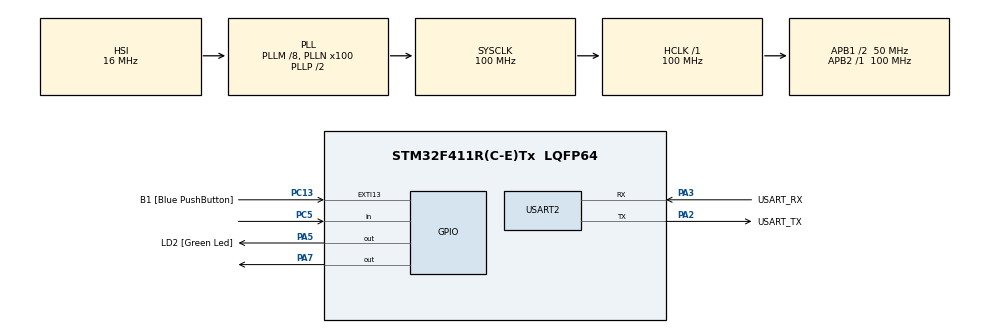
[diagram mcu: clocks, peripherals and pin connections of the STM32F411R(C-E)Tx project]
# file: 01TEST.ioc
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Mcu.Family=STM32F4
Mcu.Name=STM32F411R(C-E)Tx
Mcu.Package=LQFP64
NVIC.PriorityGroup=NVIC_PRIORITYGROUP_0
PA13.GPIO_Label=TMS
PA13.Mode=Serial_Wire
PA13.Signal=SYS_JTMS-SWDIO
PA14.GPIO_Label=TCK
PA14.Mode=Serial_Wire
PA14.Signal=SYS_JTCK-SWCLK
PA2.GPIO_Label=USART_TX
PA2.Mode=Asynchronous
PA2.Signal=USART2_TX
PA3.GPIO_Label=USART_RX
PA3.Mode=Asynchronous
PA3.Signal=USART2_RX
PA5.GPIO_Label=LD2 [Green Led]
PA5.Signal=GPIO_Output
PA7.Signal=GPIO_Output
PB3.GPIO_Label=SWO
PB3.Signal=SYS_JTDO-SWO
PC13-ANTI_TAMP.GPIO_Label=B1 [Blue PushButton]
PC13-ANTI_TAMP.GPIO_ModeDefaultEXTI=GPIO_MODE_IT_FALLING
PC13-ANTI_TAMP.Signal=GPXTI13
PC14-OSC32_IN.Mode=LSE-External-Oscillator
PC14-OSC32_IN.Signal=RCC_OSC32_IN
PC15-OSC32_OUT.Mode=LSE-External-Oscillator
PC15-OSC32_OUT.Signal=RCC_OSC32_OUT
PC5.Signal=GPIO_Input
PH0\ -\ OSC_IN.Mode=HSE-External-Clock-Source
PH0\ -\ OSC_IN.Signal=RCC_OSC_IN
PH1\ -\ OSC_OUT.Mode=HSE-External-Clock-Source
PH1\ -\ OSC_OUT.Signal=RCC_OSC_OUT
ProjectManager.HeapSize=0x200
ProjectManager.StackSize=0x400
ProjectManager.TargetToolchain=STM32CubeIDE
RCC.48MHZClocksFreq_Value=50000000
RCC.AHBFreq_Value=100000000
RCC.APB1CLKDivider=RCC_HCLK_DIV2
RCC.APB1Freq_Value=50000000
RCC.APB1TimFreq_Value=100000000
RCC.APB2Freq_Value=100000000
RCC.APB2TimFreq_Value=100000000
RCC.CortexFreq_Value=100000000
RCC.FLatency-AdvancedSettings=FLASH_LATENCY_3
RCC.HCLKFreq_Value=100000000
RCC.HSE_VALUE=8000000
RCC.HSI_VALUE=16000000
RCC.PLLM=8
RCC.PLLN=100
RCC.SYSCLKFreq_VALUE=100000000
RCC.SYSCLKSource=RCC_SYSCLKSOURCE_PLLCLK
RCC.VCOOutputFreq_Value=200000000
USART2.VirtualMode=VM_ASYNC
board=NUCLEO-F411RE

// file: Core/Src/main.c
/* USER CODE BEGIN Header */
/**
  ******************************************************************************
  * @file           : main.c
  * @brief          : Main program body
  ******************************************************************************
  * @attention
  *
  * Copyright (c) 2022 STMicroelectronics.
  * All rights reserved.
  *
  * This software is licensed under terms that can be found in the LICENSE file
  * in the root directory of this software component.
  * If no LICENSE file comes with this software, it is provided AS-IS.
  *
  ******************************************************************************
  */
/* USER CODE END Header */
#include "main.h"

UART_HandleTypeDef huart2;

void SystemClock_Config(void);
static void MX_GPIO_Init(void);
static void MX_USART2_UART_Init(void);

int main(void)
{

  /* MCU Configuration--------------------------------------------------------*/

  /* Reset of all peripherals, Initializes the Flash interface and the Systick. */
  HAL_Init();

  /* Configure the system clock */
  SystemClock_Config();

  /* Initialize all configured peripherals */
  MX_GPIO_Init();
  MX_USART2_UART_Init();
  /* USER CODE BEGIN 2 */

  GPIO_PinState state[2] ;// State switch
  uint16_t LED_half_prieod = 500 ; // 1Hz
  uint32_t Timestapm = 0 ;

  /* USER CODE END 2 */

  /* Infinite loop */
  /* USER CODE BEGIN WHILE */
  while (1)
  {
	/* Test Blink LED */
	// Program is running
//	HAL_GPIO_WritePin(GPIOA , GPIO_PIN_5 , GPIO_PIN_SET) ;
//	HAL_Delay(1000);
//	HAL_GPIO_WritePin(GPIOA , GPIO_PIN_5 , GPIO_PIN_RESET) ;
//	HAL_Delay(1000);
	  /* Check half period */
//	HAL_GPIO_WritePin(GPIOA, GPIO_PIN_5, 1);
//	HAL_Delay(LED_half_prieod);
//	HAL_GPIO_WritePin(GPIOA, GPIO_PIN_5, 0);
//	HAL_Delay(LED_half_prieod);

	// Read button pin state
	state[0] = HAL_GPIO_ReadPin(GPIOC, GPIO_PIN_13); // array[0] = read state now

	if (state[1] == 1  && state[0] == 0  ){
		if (LED_half_prieod == 500){
			LED_half_prieod = 250 ;
		}else{
			LED_half_prieod = 500 ;
		}
	}
	state[1] = state[0] ;

	if (HAL_GetTick() - Timestapm >= LED_half_prieod){
		// Now
		Timestapm = HAL_GetTick() ;
		if (HAL_GPIO_ReadPin(GPIOA, GPIO_PIN_7) == 1 )
		{
			HAL_GPIO_WritePin(GPIOA, GPIO_PIN_7, 0);
		}else{
			HAL_GPIO_WritePin(GPIOA, GPIO_PIN_7, 1);
		}
	}
    /* USER CODE END WHILE */

  }
}

void SystemClock_Config(void)
{
  RCC_OscInitTypeDef RCC_OscInitStruct = {0};
  RCC_ClkInitTypeDef RCC_ClkInitStruct = {0};

  /** Configure the main internal regulator output voltage
  */
  __HAL_RCC_PWR_CLK_ENABLE();
  __HAL_PWR_VOLTAGESCALING_CONFIG(PWR_REGULATOR_VOLTAGE_SCALE1);
  /** Initializes the RCC Oscillators according to the specified parameters
  * in the RCC_OscInitTypeDef structure.
  */
  RCC_OscInitStruct.OscillatorType = RCC_OSCILLATORTYPE_HSI;
  RCC_OscInitStruct.HSIState = RCC_HSI_ON;
  RCC_OscInitStruct.HSICalibrationValue = RCC_HSICALIBRATION_DEFAULT;
  RCC_OscInitStruct.PLL.PLLState = RCC_PLL_ON;
  RCC_OscInitStruct.PLL.PLLSource = RCC_PLLSOURCE_HSI;
  RCC_OscInitStruct.PLL.PLLM = 8;
  RCC_OscInitStruct.PLL.PLLN = 100;
  RCC_OscInitStruct.PLL.PLLP = RCC_PLLP_DIV2;
  RCC_OscInitStruct.PLL.PLLQ = 4;
  if (HAL_RCC_OscConfig(&RCC_OscInitStruct) != HAL_OK)
  {
    Error_Handler();
  }
  /** Initializes the CPU, AHB and APB buses clocks
  */
  RCC_ClkInitStruct.ClockType = RCC_CLOCKTYPE_HCLK|RCC_CLOCKTYPE_SYSCLK
                              |RCC_CLOCKTYPE_PCLK1|RCC_CLOCKTYPE_PCLK2;
  RCC_ClkInitStruct.SYSCLKSource = RCC_SYSCLKSOURCE_PLLCLK;
  RCC_ClkInitStruct.AHBCLKDivider = RCC_SYSCLK_DIV1;
  RCC_ClkInitStruct.APB1CLKDivider = RCC_HCLK_DIV2;
  RCC_ClkInitStruct.APB2CLKDivider = RCC_HCLK_DIV1;

  if (HAL_RCC_ClockConfig(&RCC_ClkInitStruct, FLASH_LATENCY_3) != HAL_OK)
  {
    Error_Handler();
  }
}

static void MX_USART2_UART_Init(void)
{

  huart2.Instance = USART2;
  huart2.Init.BaudRate = 115200;
  huart2.Init.WordLength = UART_WORDLENGTH_8B;
  huart2.Init.StopBits = UART_STOPBITS_1;
  huart2.Init.Parity = UART_PARITY_NONE;
  huart2.Init.Mode = UART_MODE_TX_RX;
  huart2.Init.HwFlowCtl = UART_HWCONTROL_NONE;
  huart2.Init.OverSampling = UART_OVERSAMPLING_16;
  if (HAL_UART_Init(&huart2) != HAL_OK)
  {
    Error_Handler();
  }

}

static void MX_GPIO_Init(void)
{
  GPIO_InitTypeDef GPIO_InitStruct = {0};

  /* GPIO Ports Clock Enable */
  __HAL_RCC_GPIOC_CLK_ENABLE();
  __HAL_RCC_GPIOH_CLK_ENABLE();
  __HAL_RCC_GPIOA_CLK_ENABLE();
  __HAL_RCC_GPIOB_CLK_ENABLE();

  /*Configure GPIO pin Output Level */
  HAL_GPIO_WritePin(GPIOA, LD2_Pin|GPIO_PIN_7, GPIO_PIN_RESET);

  /*Configure GPIO pin : B1_Pin */
  GPIO_InitStruct.Pin = B1_Pin;
  GPIO_InitStruct.Mode = GPIO_MODE_IT_FALLING;
  GPIO_InitStruct.Pull = GPIO_NOPULL;
  HAL_GPIO_Init(B1_GPIO_Port, &GPIO_InitStruct);

  /*Configure GPIO pins : LD2_Pin PA7 */
  GPIO_InitStruct.Pin = LD2_Pin|GPIO_PIN_7;
  GPIO_InitStruct.Mode = GPIO_MODE_OUTPUT_PP;
  GPIO_InitStruct.Pull = GPIO_NOPULL;
  GPIO_InitStruct.Speed = GPIO_SPEED_FREQ_LOW;
  HAL_GPIO_Init(GPIOA, &GPIO_InitStruct);

}

void Error_Handler(void)
{
  __disable_irq();
  while (1)
  {
  }
}
